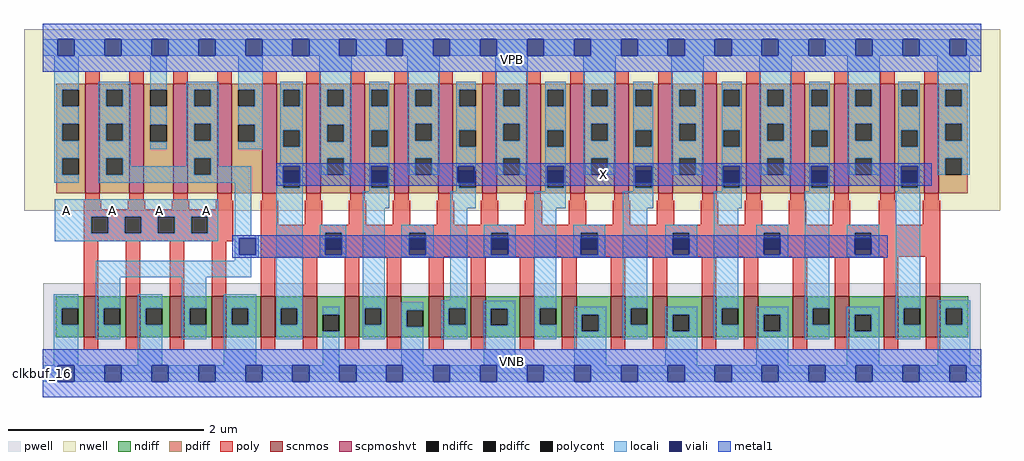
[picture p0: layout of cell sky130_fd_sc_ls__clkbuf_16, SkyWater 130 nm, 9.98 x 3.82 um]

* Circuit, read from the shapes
.subckt sky130_fd_sc_ls__clkbuf_16 A VGND VNB VPB VPWR X
XM1 n1 A VGND VNB sky130_fd_pr__nfet_01v8 w=0.42 l=0.15 m=4
XM2 X n1 VGND VNB sky130_fd_pr__nfet_01v8 w=0.42 l=0.15 m=16
XM3 n1 A VPWR VPB sky130_fd_pr__pfet_01v8_hvt w=1.12 l=0.15 m=4
XM4 X n1 VPWR VPB sky130_fd_pr__pfet_01v8_hvt w=1.12 l=0.15 m=16
.ends

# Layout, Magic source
magic
tech sky130A
magscale 1 2
<< nwell >>
rect -38 332 1958 704
<< pwell >>
rect 1 49 1919 184
rect 0 0 1920 49
<< scnmos >>
rect 84 74 114 158
rect 170 74 200 158
rect 260 74 290 158
rect 346 74 376 158
rect 446 74 476 158
rect 532 74 562 158
rect 618 74 648 158
rect 704 74 734 158
rect 790 74 820 158
rect 876 74 906 158
rect 976 74 1006 158
rect 1062 74 1092 158
rect 1162 74 1192 158
rect 1248 74 1278 158
rect 1348 74 1378 158
rect 1434 74 1464 158
rect 1534 74 1564 158
rect 1620 74 1650 158
rect 1720 74 1750 158
rect 1806 74 1836 158
<< scpmoshvt >>
rect 87 368 117 592
rect 177 368 207 592
rect 267 368 297 592
rect 357 368 387 592
rect 449 368 479 592
rect 539 368 569 592
rect 629 368 659 592
rect 719 368 749 592
rect 809 368 839 592
rect 899 368 929 592
rect 989 368 1019 592
rect 1079 368 1109 592
rect 1169 368 1199 592
rect 1259 368 1289 592
rect 1349 368 1379 592
rect 1439 368 1469 592
rect 1529 368 1559 592
rect 1619 368 1649 592
rect 1713 368 1743 592
rect 1803 368 1833 592
<< ndiff >>
rect 27 133 84 158
rect 27 99 39 133
rect 73 99 84 133
rect 27 74 84 99
rect 114 133 170 158
rect 114 99 125 133
rect 159 99 170 133
rect 114 74 170 99
rect 200 133 260 158
rect 200 99 211 133
rect 245 99 260 133
rect 200 74 260 99
rect 290 133 346 158
rect 290 99 301 133
rect 335 99 346 133
rect 290 74 346 99
rect 376 133 446 158
rect 376 99 387 133
rect 421 99 446 133
rect 376 74 446 99
rect 476 133 532 158
rect 476 99 487 133
rect 521 99 532 133
rect 476 74 532 99
rect 562 120 618 158
rect 562 86 573 120
rect 607 86 618 120
rect 562 74 618 86
rect 648 133 704 158
rect 648 99 659 133
rect 693 99 704 133
rect 648 74 704 99
rect 734 129 790 158
rect 734 95 745 129
rect 779 95 790 129
rect 734 74 790 95
rect 820 133 876 158
rect 820 99 831 133
rect 865 99 876 133
rect 820 74 876 99
rect 906 132 976 158
rect 906 98 917 132
rect 951 98 976 132
rect 906 74 976 98
rect 1006 133 1062 158
rect 1006 99 1017 133
rect 1051 99 1062 133
rect 1006 74 1062 99
rect 1092 120 1162 158
rect 1092 86 1103 120
rect 1137 86 1162 120
rect 1092 74 1162 86
rect 1192 133 1248 158
rect 1192 99 1203 133
rect 1237 99 1248 133
rect 1192 74 1248 99
rect 1278 120 1348 158
rect 1278 86 1289 120
rect 1323 86 1348 120
rect 1278 74 1348 86
rect 1378 133 1434 158
rect 1378 99 1389 133
rect 1423 99 1434 133
rect 1378 74 1434 99
rect 1464 120 1534 158
rect 1464 86 1475 120
rect 1509 86 1534 120
rect 1464 74 1534 86
rect 1564 133 1620 158
rect 1564 99 1575 133
rect 1609 99 1620 133
rect 1564 74 1620 99
rect 1650 120 1720 158
rect 1650 86 1661 120
rect 1695 86 1720 120
rect 1650 74 1720 86
rect 1750 133 1806 158
rect 1750 99 1761 133
rect 1795 99 1806 133
rect 1750 74 1806 99
rect 1836 133 1893 158
rect 1836 99 1847 133
rect 1881 99 1893 133
rect 1836 74 1893 99
<< pdiff >>
rect 28 580 87 592
rect 28 546 40 580
rect 74 546 87 580
rect 28 510 87 546
rect 28 476 40 510
rect 74 476 87 510
rect 28 440 87 476
rect 28 406 40 440
rect 74 406 87 440
rect 28 368 87 406
rect 117 580 177 592
rect 117 546 130 580
rect 164 546 177 580
rect 117 510 177 546
rect 117 476 130 510
rect 164 476 177 510
rect 117 440 177 476
rect 117 406 130 440
rect 164 406 177 440
rect 117 368 177 406
rect 207 580 267 592
rect 207 546 220 580
rect 254 546 267 580
rect 207 508 267 546
rect 207 474 220 508
rect 254 474 267 508
rect 207 368 267 474
rect 297 580 357 592
rect 297 546 310 580
rect 344 546 357 580
rect 297 510 357 546
rect 297 476 310 510
rect 344 476 357 510
rect 297 440 357 476
rect 297 406 310 440
rect 344 406 357 440
rect 297 368 357 406
rect 387 580 449 592
rect 387 546 400 580
rect 434 546 449 580
rect 387 508 449 546
rect 387 474 400 508
rect 434 474 449 508
rect 387 368 449 474
rect 479 580 539 592
rect 479 546 492 580
rect 526 546 539 580
rect 479 497 539 546
rect 479 463 492 497
rect 526 463 539 497
rect 479 414 539 463
rect 479 380 492 414
rect 526 380 539 414
rect 479 368 539 380
rect 569 580 629 592
rect 569 546 582 580
rect 616 546 629 580
rect 569 508 629 546
rect 569 474 582 508
rect 616 474 629 508
rect 569 440 629 474
rect 569 406 582 440
rect 616 406 629 440
rect 569 368 629 406
rect 659 580 719 592
rect 659 546 672 580
rect 706 546 719 580
rect 659 497 719 546
rect 659 463 672 497
rect 706 463 719 497
rect 659 414 719 463
rect 659 380 672 414
rect 706 380 719 414
rect 659 368 719 380
rect 749 580 809 592
rect 749 546 762 580
rect 796 546 809 580
rect 749 510 809 546
rect 749 476 762 510
rect 796 476 809 510
rect 749 440 809 476
rect 749 406 762 440
rect 796 406 809 440
rect 749 368 809 406
rect 839 580 899 592
rect 839 546 852 580
rect 886 546 899 580
rect 839 497 899 546
rect 839 463 852 497
rect 886 463 899 497
rect 839 414 899 463
rect 839 380 852 414
rect 886 380 899 414
rect 839 368 899 380
rect 929 580 989 592
rect 929 546 942 580
rect 976 546 989 580
rect 929 510 989 546
rect 929 476 942 510
rect 976 476 989 510
rect 929 440 989 476
rect 929 406 942 440
rect 976 406 989 440
rect 929 368 989 406
rect 1019 580 1079 592
rect 1019 546 1032 580
rect 1066 546 1079 580
rect 1019 497 1079 546
rect 1019 463 1032 497
rect 1066 463 1079 497
rect 1019 414 1079 463
rect 1019 380 1032 414
rect 1066 380 1079 414
rect 1019 368 1079 380
rect 1109 580 1169 592
rect 1109 546 1122 580
rect 1156 546 1169 580
rect 1109 510 1169 546
rect 1109 476 1122 510
rect 1156 476 1169 510
rect 1109 440 1169 476
rect 1109 406 1122 440
rect 1156 406 1169 440
rect 1109 368 1169 406
rect 1199 580 1259 592
rect 1199 546 1212 580
rect 1246 546 1259 580
rect 1199 497 1259 546
rect 1199 463 1212 497
rect 1246 463 1259 497
rect 1199 414 1259 463
rect 1199 380 1212 414
rect 1246 380 1259 414
rect 1199 368 1259 380
rect 1289 580 1349 592
rect 1289 546 1302 580
rect 1336 546 1349 580
rect 1289 510 1349 546
rect 1289 476 1302 510
rect 1336 476 1349 510
rect 1289 440 1349 476
rect 1289 406 1302 440
rect 1336 406 1349 440
rect 1289 368 1349 406
rect 1379 580 1439 592
rect 1379 546 1392 580
rect 1426 546 1439 580
rect 1379 497 1439 546
rect 1379 463 1392 497
rect 1426 463 1439 497
rect 1379 414 1439 463
rect 1379 380 1392 414
rect 1426 380 1439 414
rect 1379 368 1439 380
rect 1469 580 1529 592
rect 1469 546 1482 580
rect 1516 546 1529 580
rect 1469 510 1529 546
rect 1469 476 1482 510
rect 1516 476 1529 510
rect 1469 440 1529 476
rect 1469 406 1482 440
rect 1516 406 1529 440
rect 1469 368 1529 406
rect 1559 580 1619 592
rect 1559 546 1572 580
rect 1606 546 1619 580
rect 1559 497 1619 546
rect 1559 463 1572 497
rect 1606 463 1619 497
rect 1559 414 1619 463
rect 1559 380 1572 414
rect 1606 380 1619 414
rect 1559 368 1619 380
rect 1649 580 1713 592
rect 1649 546 1662 580
rect 1696 546 1713 580
rect 1649 510 1713 546
rect 1649 476 1662 510
rect 1696 476 1713 510
rect 1649 440 1713 476
rect 1649 406 1662 440
rect 1696 406 1713 440
rect 1649 368 1713 406
rect 1743 580 1803 592
rect 1743 546 1756 580
rect 1790 546 1803 580
rect 1743 497 1803 546
rect 1743 463 1756 497
rect 1790 463 1803 497
rect 1743 414 1803 463
rect 1743 380 1756 414
rect 1790 380 1803 414
rect 1743 368 1803 380
rect 1833 580 1892 592
rect 1833 546 1846 580
rect 1880 546 1892 580
rect 1833 510 1892 546
rect 1833 476 1846 510
rect 1880 476 1892 510
rect 1833 440 1892 476
rect 1833 406 1846 440
rect 1880 406 1892 440
rect 1833 368 1892 406
<< ndiffc >>
rect 39 99 73 133
rect 125 99 159 133
rect 211 99 245 133
rect 301 99 335 133
rect 387 99 421 133
rect 487 99 521 133
rect 573 86 607 120
rect 659 99 693 133
rect 745 95 779 129
rect 831 99 865 133
rect 917 98 951 132
rect 1017 99 1051 133
rect 1103 86 1137 120
rect 1203 99 1237 133
rect 1289 86 1323 120
rect 1389 99 1423 133
rect 1475 86 1509 120
rect 1575 99 1609 133
rect 1661 86 1695 120
rect 1761 99 1795 133
rect 1847 99 1881 133
<< pdiffc >>
rect 40 546 74 580
rect 40 476 74 510
rect 40 406 74 440
rect 130 546 164 580
rect 130 476 164 510
rect 130 406 164 440
rect 220 546 254 580
rect 220 474 254 508
rect 310 546 344 580
rect 310 476 344 510
rect 310 406 344 440
rect 400 546 434 580
rect 400 474 434 508
rect 492 546 526 580
rect 492 463 526 497
rect 492 380 526 414
rect 582 546 616 580
rect 582 474 616 508
rect 582 406 616 440
rect 672 546 706 580
rect 672 463 706 497
rect 672 380 706 414
rect 762 546 796 580
rect 762 476 796 510
rect 762 406 796 440
rect 852 546 886 580
rect 852 463 886 497
rect 852 380 886 414
rect 942 546 976 580
rect 942 476 976 510
rect 942 406 976 440
rect 1032 546 1066 580
rect 1032 463 1066 497
rect 1032 380 1066 414
rect 1122 546 1156 580
rect 1122 476 1156 510
rect 1122 406 1156 440
rect 1212 546 1246 580
rect 1212 463 1246 497
rect 1212 380 1246 414
rect 1302 546 1336 580
rect 1302 476 1336 510
rect 1302 406 1336 440
rect 1392 546 1426 580
rect 1392 463 1426 497
rect 1392 380 1426 414
rect 1482 546 1516 580
rect 1482 476 1516 510
rect 1482 406 1516 440
rect 1572 546 1606 580
rect 1572 463 1606 497
rect 1572 380 1606 414
rect 1662 546 1696 580
rect 1662 476 1696 510
rect 1662 406 1696 440
rect 1756 546 1790 580
rect 1756 463 1790 497
rect 1756 380 1790 414
rect 1846 546 1880 580
rect 1846 476 1880 510
rect 1846 406 1880 440
<< poly >>
rect 87 592 117 618
rect 177 592 207 618
rect 267 592 297 618
rect 357 592 387 618
rect 449 592 479 618
rect 539 592 569 618
rect 629 592 659 618
rect 719 592 749 618
rect 809 592 839 618
rect 899 592 929 618
rect 989 592 1019 618
rect 1079 592 1109 618
rect 1169 592 1199 618
rect 1259 592 1289 618
rect 1349 592 1379 618
rect 1439 592 1469 618
rect 1529 592 1559 618
rect 1619 592 1649 618
rect 1713 592 1743 618
rect 1803 592 1833 618
rect 87 353 117 368
rect 177 353 207 368
rect 267 353 297 368
rect 357 353 387 368
rect 449 353 479 368
rect 539 353 569 368
rect 629 353 659 368
rect 719 353 749 368
rect 809 353 839 368
rect 899 353 929 368
rect 989 353 1019 368
rect 1079 353 1109 368
rect 1169 353 1199 368
rect 1259 353 1289 368
rect 1349 353 1379 368
rect 1439 353 1469 368
rect 1529 353 1559 368
rect 1619 353 1649 368
rect 1713 353 1743 368
rect 1803 353 1833 368
rect 84 336 120 353
rect 174 336 210 353
rect 264 336 300 353
rect 354 336 390 353
rect 84 320 390 336
rect 84 286 100 320
rect 134 286 168 320
rect 202 286 236 320
rect 270 286 304 320
rect 338 286 390 320
rect 84 270 390 286
rect 446 304 482 353
rect 536 304 572 353
rect 626 304 662 353
rect 716 304 752 353
rect 806 304 842 353
rect 896 304 932 353
rect 986 304 1022 353
rect 1076 304 1112 353
rect 1166 304 1202 353
rect 1256 304 1292 353
rect 1346 304 1382 353
rect 1436 304 1472 353
rect 1526 304 1562 353
rect 1616 304 1652 353
rect 1710 304 1746 353
rect 1800 304 1836 353
rect 446 288 1836 304
rect 84 158 114 270
rect 170 158 200 270
rect 260 158 290 270
rect 346 158 376 270
rect 446 254 578 288
rect 612 254 750 288
rect 784 254 918 288
rect 952 254 1101 288
rect 1135 254 1289 288
rect 1323 254 1475 288
rect 1509 254 1661 288
rect 1695 254 1836 288
rect 446 238 1836 254
rect 446 158 476 238
rect 532 158 562 238
rect 618 158 648 238
rect 704 158 734 238
rect 790 158 820 238
rect 876 158 906 238
rect 976 158 1006 238
rect 1062 158 1092 238
rect 1162 158 1192 238
rect 1248 158 1278 238
rect 1348 158 1378 238
rect 1434 158 1464 238
rect 1534 158 1564 238
rect 1620 158 1650 238
rect 1720 158 1750 238
rect 1806 158 1836 238
rect 84 48 114 74
rect 170 48 200 74
rect 260 48 290 74
rect 346 48 376 74
rect 446 48 476 74
rect 532 48 562 74
rect 618 48 648 74
rect 704 48 734 74
rect 790 48 820 74
rect 876 48 906 74
rect 976 48 1006 74
rect 1062 48 1092 74
rect 1162 48 1192 74
rect 1248 48 1278 74
rect 1348 48 1378 74
rect 1434 48 1464 74
rect 1534 48 1564 74
rect 1620 48 1650 74
rect 1720 48 1750 74
rect 1806 48 1836 74
<< polycont >>
rect 100 286 134 320
rect 168 286 202 320
rect 236 286 270 320
rect 304 286 338 320
rect 578 254 612 288
rect 750 254 784 288
rect 918 254 952 288
rect 1101 254 1135 288
rect 1289 254 1323 288
rect 1475 254 1509 288
rect 1661 254 1695 288
<< locali >>
rect 0 649 31 683
rect 65 649 127 683
rect 161 649 223 683
rect 257 649 319 683
rect 353 649 415 683
rect 449 649 511 683
rect 545 649 607 683
rect 641 649 703 683
rect 737 649 799 683
rect 833 649 895 683
rect 929 649 991 683
rect 1025 649 1087 683
rect 1121 649 1183 683
rect 1217 649 1279 683
rect 1313 649 1375 683
rect 1409 649 1471 683
rect 1505 649 1567 683
rect 1601 649 1663 683
rect 1697 649 1759 683
rect 1793 649 1855 683
rect 1889 649 1920 683
rect 24 580 74 649
rect 24 546 40 580
rect 24 510 74 546
rect 24 476 40 510
rect 24 440 74 476
rect 24 406 40 440
rect 24 390 74 406
rect 114 580 180 596
rect 114 546 130 580
rect 164 546 180 580
rect 114 510 180 546
rect 114 476 130 510
rect 164 476 180 510
rect 114 440 180 476
rect 220 580 254 649
rect 220 508 254 546
rect 220 458 254 474
rect 294 580 360 596
rect 294 546 310 580
rect 344 546 360 580
rect 294 510 360 546
rect 294 476 310 510
rect 344 476 360 510
rect 114 406 130 440
rect 164 424 180 440
rect 294 440 360 476
rect 400 580 450 649
rect 434 546 450 580
rect 400 508 450 546
rect 434 474 450 508
rect 400 458 450 474
rect 486 580 532 596
rect 486 546 492 580
rect 526 546 532 580
rect 486 497 532 546
rect 486 463 492 497
rect 526 463 532 497
rect 294 424 310 440
rect 164 406 310 424
rect 344 424 360 440
rect 486 424 532 463
rect 344 406 427 424
rect 114 390 427 406
rect 25 320 359 356
rect 25 286 100 320
rect 134 286 168 320
rect 202 286 236 320
rect 270 286 304 320
rect 338 286 359 320
rect 25 270 359 286
rect 393 282 427 390
rect 478 380 492 424
rect 526 380 532 424
rect 566 580 632 649
rect 566 546 582 580
rect 616 546 632 580
rect 566 508 632 546
rect 566 474 582 508
rect 616 474 632 508
rect 566 440 632 474
rect 566 406 582 440
rect 616 406 632 440
rect 668 580 709 596
rect 668 546 672 580
rect 706 546 709 580
rect 668 497 709 546
rect 668 463 672 497
rect 706 463 709 497
rect 668 424 709 463
rect 393 276 442 282
rect 393 242 402 276
rect 436 242 442 276
rect 393 236 442 242
rect 393 230 427 236
rect 109 196 427 230
rect 23 133 73 162
rect 23 99 39 133
rect 23 17 73 99
rect 109 133 159 196
rect 109 99 125 133
rect 109 70 159 99
rect 195 133 245 162
rect 195 99 211 133
rect 195 17 245 99
rect 285 133 335 196
rect 285 99 301 133
rect 285 70 335 99
rect 371 133 437 162
rect 371 99 387 133
rect 421 99 437 133
rect 371 17 437 99
rect 478 133 532 380
rect 668 380 672 424
rect 706 380 709 424
rect 746 580 812 649
rect 746 546 762 580
rect 796 546 812 580
rect 746 510 812 546
rect 746 476 762 510
rect 796 476 812 510
rect 746 440 812 476
rect 746 406 762 440
rect 796 406 812 440
rect 846 580 886 596
rect 846 546 852 580
rect 846 497 886 546
rect 846 463 852 497
rect 846 424 886 463
rect 668 372 709 380
rect 846 390 849 424
rect 883 414 886 424
rect 926 580 992 649
rect 926 546 942 580
rect 976 546 992 580
rect 926 510 992 546
rect 926 476 942 510
rect 976 476 992 510
rect 926 440 992 476
rect 926 406 942 440
rect 976 406 992 440
rect 1028 580 1070 596
rect 1028 546 1032 580
rect 1066 546 1070 580
rect 1028 497 1070 546
rect 1028 463 1032 497
rect 1066 463 1070 497
rect 1028 424 1070 463
rect 846 380 852 390
rect 846 372 886 380
rect 1028 380 1032 424
rect 1066 380 1070 424
rect 1106 580 1172 649
rect 1106 546 1122 580
rect 1156 546 1172 580
rect 1106 510 1172 546
rect 1106 476 1122 510
rect 1156 476 1172 510
rect 1106 440 1172 476
rect 1106 406 1122 440
rect 1156 406 1172 440
rect 1208 580 1249 596
rect 1208 546 1212 580
rect 1246 546 1249 580
rect 1208 497 1249 546
rect 1208 463 1212 497
rect 1246 463 1249 497
rect 1208 424 1249 463
rect 1028 372 1070 380
rect 1208 380 1212 424
rect 1246 380 1249 424
rect 1286 580 1352 649
rect 1286 546 1302 580
rect 1336 546 1352 580
rect 1286 510 1352 546
rect 1286 476 1302 510
rect 1336 476 1352 510
rect 1286 440 1352 476
rect 1286 406 1302 440
rect 1336 406 1352 440
rect 1389 580 1430 596
rect 1389 546 1392 580
rect 1426 546 1430 580
rect 1389 497 1430 546
rect 1389 463 1392 497
rect 1426 463 1430 497
rect 1389 424 1430 463
rect 1208 372 1249 380
rect 1389 380 1392 424
rect 1426 380 1430 424
rect 1466 580 1532 649
rect 1466 546 1482 580
rect 1516 546 1532 580
rect 1466 510 1532 546
rect 1466 476 1482 510
rect 1516 476 1532 510
rect 1466 440 1532 476
rect 1466 406 1482 440
rect 1516 406 1532 440
rect 1568 580 1610 596
rect 1568 546 1572 580
rect 1606 546 1610 580
rect 1568 497 1610 546
rect 1568 463 1572 497
rect 1606 463 1610 497
rect 1568 424 1610 463
rect 1389 372 1430 380
rect 1568 380 1572 424
rect 1606 380 1610 424
rect 1646 580 1712 649
rect 1646 546 1662 580
rect 1696 546 1712 580
rect 1646 510 1712 546
rect 1646 476 1662 510
rect 1696 476 1712 510
rect 1646 440 1712 476
rect 1646 406 1662 440
rect 1696 406 1712 440
rect 1750 580 1794 596
rect 1750 546 1756 580
rect 1790 546 1794 580
rect 1750 497 1794 546
rect 1750 463 1756 497
rect 1790 463 1794 497
rect 1750 424 1794 463
rect 1568 372 1610 380
rect 1750 380 1756 424
rect 1790 380 1794 424
rect 1830 580 1896 649
rect 1830 546 1846 580
rect 1880 546 1896 580
rect 1830 510 1896 546
rect 1830 476 1846 510
rect 1880 476 1896 510
rect 1830 440 1896 476
rect 1830 406 1846 440
rect 1880 406 1896 440
rect 1750 372 1794 380
rect 655 338 709 372
rect 834 338 886 372
rect 1005 338 1070 372
rect 1187 338 1249 372
rect 1373 338 1430 372
rect 1559 338 1610 372
rect 1745 366 1794 372
rect 567 288 621 304
rect 567 242 578 288
rect 612 242 621 288
rect 567 238 621 242
rect 478 99 487 133
rect 521 99 532 133
rect 478 70 532 99
rect 573 120 607 136
rect 573 17 607 86
rect 655 133 700 338
rect 734 288 800 304
rect 734 242 750 288
rect 784 242 800 288
rect 734 238 800 242
rect 834 149 868 338
rect 902 288 968 304
rect 902 242 918 288
rect 952 242 968 288
rect 902 238 968 242
rect 655 99 659 133
rect 693 99 700 133
rect 655 70 700 99
rect 734 129 779 145
rect 734 95 745 129
rect 734 17 779 95
rect 815 133 868 149
rect 815 99 831 133
rect 865 99 868 133
rect 815 70 868 99
rect 902 132 967 148
rect 902 98 917 132
rect 951 98 967 132
rect 902 17 967 98
rect 1005 133 1051 338
rect 1085 288 1151 304
rect 1085 242 1101 288
rect 1135 242 1151 288
rect 1085 238 1151 242
rect 1005 99 1017 133
rect 1005 70 1051 99
rect 1087 120 1153 136
rect 1087 86 1103 120
rect 1137 86 1153 120
rect 1087 17 1153 86
rect 1187 133 1237 338
rect 1273 288 1339 304
rect 1273 242 1289 288
rect 1323 242 1339 288
rect 1273 238 1339 242
rect 1187 99 1203 133
rect 1187 70 1237 99
rect 1273 120 1339 136
rect 1273 86 1289 120
rect 1323 86 1339 120
rect 1273 17 1339 86
rect 1373 133 1423 338
rect 1459 288 1525 304
rect 1459 242 1475 288
rect 1509 242 1525 288
rect 1459 238 1525 242
rect 1373 99 1389 133
rect 1373 70 1423 99
rect 1459 120 1525 136
rect 1459 86 1475 120
rect 1509 86 1525 120
rect 1459 17 1525 86
rect 1559 133 1609 338
rect 1645 288 1711 304
rect 1645 242 1661 288
rect 1695 242 1711 288
rect 1645 238 1711 242
rect 1559 99 1575 133
rect 1559 70 1609 99
rect 1645 120 1711 136
rect 1645 86 1661 120
rect 1695 86 1711 120
rect 1645 17 1711 86
rect 1745 133 1795 366
rect 1745 99 1761 133
rect 1745 70 1795 99
rect 1831 133 1897 149
rect 1831 99 1847 133
rect 1881 99 1897 133
rect 1831 17 1897 99
rect 0 -17 31 17
rect 65 -17 127 17
rect 161 -17 223 17
rect 257 -17 319 17
rect 353 -17 415 17
rect 449 -17 511 17
rect 545 -17 607 17
rect 641 -17 703 17
rect 737 -17 799 17
rect 833 -17 895 17
rect 929 -17 991 17
rect 1025 -17 1087 17
rect 1121 -17 1183 17
rect 1217 -17 1279 17
rect 1313 -17 1375 17
rect 1409 -17 1471 17
rect 1505 -17 1567 17
rect 1601 -17 1663 17
rect 1697 -17 1759 17
rect 1793 -17 1855 17
rect 1889 -17 1920 17
<< viali >>
rect 31 649 65 683
rect 127 649 161 683
rect 223 649 257 683
rect 319 649 353 683
rect 415 649 449 683
rect 511 649 545 683
rect 607 649 641 683
rect 703 649 737 683
rect 799 649 833 683
rect 895 649 929 683
rect 991 649 1025 683
rect 1087 649 1121 683
rect 1183 649 1217 683
rect 1279 649 1313 683
rect 1375 649 1409 683
rect 1471 649 1505 683
rect 1567 649 1601 683
rect 1663 649 1697 683
rect 1759 649 1793 683
rect 1855 649 1889 683
rect 492 414 526 424
rect 492 390 526 414
rect 402 242 436 276
rect 672 414 706 424
rect 672 390 706 414
rect 849 414 883 424
rect 849 390 852 414
rect 852 390 883 414
rect 1032 414 1066 424
rect 1032 390 1066 414
rect 1212 414 1246 424
rect 1212 390 1246 414
rect 1392 414 1426 424
rect 1392 390 1426 414
rect 1572 414 1606 424
rect 1572 390 1606 414
rect 1756 414 1790 424
rect 1756 390 1790 414
rect 578 254 612 276
rect 578 242 612 254
rect 750 254 784 276
rect 750 242 784 254
rect 918 254 952 276
rect 918 242 952 254
rect 1101 254 1135 276
rect 1101 242 1135 254
rect 1289 254 1323 276
rect 1289 242 1323 254
rect 1475 254 1509 276
rect 1475 242 1509 254
rect 1661 254 1695 276
rect 1661 242 1695 254
rect 31 -17 65 17
rect 127 -17 161 17
rect 223 -17 257 17
rect 319 -17 353 17
rect 415 -17 449 17
rect 511 -17 545 17
rect 607 -17 641 17
rect 703 -17 737 17
rect 799 -17 833 17
rect 895 -17 929 17
rect 991 -17 1025 17
rect 1087 -17 1121 17
rect 1183 -17 1217 17
rect 1279 -17 1313 17
rect 1375 -17 1409 17
rect 1471 -17 1505 17
rect 1567 -17 1601 17
rect 1663 -17 1697 17
rect 1759 -17 1793 17
rect 1855 -17 1889 17
<< metal1 >>
rect 0 683 1920 715
rect 0 649 31 683
rect 65 649 127 683
rect 161 649 223 683
rect 257 649 319 683
rect 353 649 415 683
rect 449 649 511 683
rect 545 649 607 683
rect 641 649 703 683
rect 737 649 799 683
rect 833 649 895 683
rect 929 649 991 683
rect 1025 649 1087 683
rect 1121 649 1183 683
rect 1217 649 1279 683
rect 1313 649 1375 683
rect 1409 649 1471 683
rect 1505 649 1567 683
rect 1601 649 1663 683
rect 1697 649 1759 683
rect 1793 649 1855 683
rect 1889 649 1920 683
rect 0 617 1920 649
rect 478 424 1818 430
rect 478 390 492 424
rect 526 390 672 424
rect 706 390 849 424
rect 883 390 1032 424
rect 1066 390 1212 424
rect 1246 390 1392 424
rect 1426 390 1572 424
rect 1606 390 1756 424
rect 1790 390 1818 424
rect 478 384 1818 390
rect 388 276 1728 282
rect 388 242 402 276
rect 436 242 578 276
rect 612 242 750 276
rect 784 242 918 276
rect 952 242 1101 276
rect 1135 242 1289 276
rect 1323 242 1475 276
rect 1509 242 1661 276
rect 1695 242 1728 276
rect 388 236 1728 242
rect 0 17 1920 49
rect 0 -17 31 17
rect 65 -17 127 17
rect 161 -17 223 17
rect 257 -17 319 17
rect 353 -17 415 17
rect 449 -17 511 17
rect 545 -17 607 17
rect 641 -17 703 17
rect 737 -17 799 17
rect 833 -17 895 17
rect 929 -17 991 17
rect 1025 -17 1087 17
rect 1121 -17 1183 17
rect 1217 -17 1279 17
rect 1313 -17 1375 17
rect 1409 -17 1471 17
rect 1505 -17 1567 17
rect 1601 -17 1663 17
rect 1697 -17 1759 17
rect 1793 -17 1855 17
rect 1889 -17 1920 17
rect 0 -49 1920 -17
<< labels >>
rlabel comment s 0 0 0 0 4 clkbuf_16
flabel pwell s 0 0 1920 49 0 FreeSans 200 0 0 0 VNB
port 3 nsew ground bidirectional
flabel nwell s 0 617 1920 666 0 FreeSans 200 0 0 0 VPB
port 4 nsew power bidirectional
flabel metal1 s 0 617 1920 666 0 FreeSans 340 0 0 0 VPWR
port 5 nsew power bidirectional abutment
flabel metal1 s 0 0 1920 49 0 FreeSans 340 0 0 0 VGND
port 2 nsew ground bidirectional abutment
flabel metal1 s 478 384 1818 430 0 FreeSans 400 0 0 0 X
port 6 nsew signal output
flabel locali s 31 316 65 350 0 FreeSans 340 0 0 0 A
port 1 nsew signal input
flabel locali s 127 316 161 350 0 FreeSans 340 0 0 0 A
port 1 nsew signal input
flabel locali s 223 316 257 350 0 FreeSans 340 0 0 0 A
port 1 nsew signal input
flabel locali s 319 316 353 350 0 FreeSans 340 0 0 0 A
port 1 nsew signal input
<< properties >>
string LEFsite unit
string LEFclass CORE
string FIXED_BBOX 0 0 1920 666
string GDS_FILE $PDKPATH/libs.ref/sky130_fd_sc_ls/gds/sky130_fd_sc_ls.gds
string LEFsymmetry X Y
string GDS_END 958504
string GDS_START 942578
<< end >>
